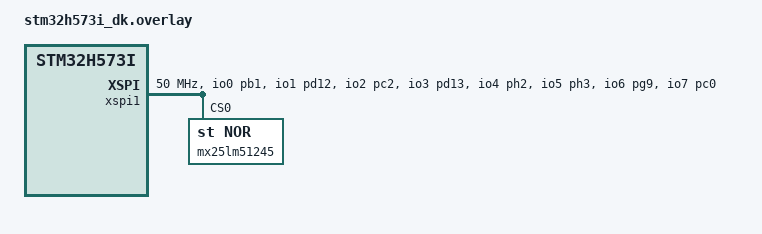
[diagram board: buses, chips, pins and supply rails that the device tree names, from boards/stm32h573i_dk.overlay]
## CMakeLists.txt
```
# SPDX-License-Identifier: Apache-2.0

cmake_minimum_required(VERSION 3.20.0)

find_package(Zephyr REQUIRED HINTS $ENV{ZEPHYR_BASE})
project(sample_with_mcuboot)

# Verify that this sample is built through sysbuild to ensure MCUboot is
# automatically included and that sample specific MCUboot configurations are
# used when building MCUboot.
test_sysbuild()

target_sources(app PRIVATE src/main.c)
```

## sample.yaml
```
sample:
  description: Sample with MCUboot built through sysbuild
  name: with mcuboot
tests:
  sample.sysbuild.with_mcuboot:
    sysbuild: true
    # Platform allowed is used as twister using sysbuild still lacks proper
    # filtering support, see discussion in #49552.
    platform_allow:
      - reel_board
      - nrf52840dk/nrf52840
      - esp32_devkitc/esp32/procpu
      - esp32s2_devkitc
      - esp32s3_devkitc/esp32s3/procpu
      - esp32c3_devkitc
      - esp32c6_devkitc/esp32c6/hpcore
      - nucleo_c071rb
      - nucleo_f091rc
      - nucleo_f207zg
      - nucleo_f429zi
      - nucleo_f746zg
      - nucleo_g071rb
      - nucleo_g474re
      - nucleo_h753zi
      - nucleo_h7s3l8/stm32h7s3xx/ext_flash_app
      - nucleo_l152re
      - nucleo_u385rg_q
      - nucleo_wb55rg
      - nucleo_wb09ke
      - nucleo_wba65ri
      - nucleo_wba55cg
      - nucleo_wl55jc
      - stm32f3_disco
      - stm32h7s78_dk/stm32h7s7xx/ext_flash_app
      - stm32h573i_dk
      - stm32h573i_dk/stm32h573xx/ext_flash_app
      - stm32h750b_dk/stm32h750xx/ext_flash_app
      - stm32l562e_dk
      - stm32u083c_dk
      - stm32wba65i_dk1
      - sam_e54_xpro
      - pic32cx_sg41_cult
    integration_platforms:
      - nrf52840dk/nrf52840
      - esp32_devkitc/esp32/procpu
      - esp32s2_devkitc
      - esp32s3_devkitc/esp32s3/procpu
      - esp32c3_devkitc
      - esp32c6_devkitc/esp32c6/hpcore
    tags: mcuboot
    harness: console
    harness_config:
      type: multi_line
      regex:
        - "Address of sample(.*)"
        - "Hello sysbuild with mcuboot!(.*)"
```

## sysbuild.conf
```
# Sysbuild configuration file.

# Enable MCUboot using overwrite only mode for this sample.
SB_CONFIG_BOOTLOADER_MCUBOOT=y
SB_CONFIG_MCUBOOT_MODE_OVERWRITE_ONLY=y
```

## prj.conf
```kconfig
# Empty file
CONFIG_STREAM_FLASH=y
CONFIG_IMG_MANAGER=y
CONFIG_FLASH=y
CONFIG_MCUBOOT_BOOTUTIL_LIB=y
CONFIG_MCUBOOT_IMG_MANAGER=y
CONFIG_FLASH_MAP=y
```

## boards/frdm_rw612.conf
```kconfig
# Copyright 2026 NXP
# SPDX-License-Identifier: Apache-2.0

CONFIG_NETWORKING=y
CONFIG_NET_L2_ETHERNET=y
CONFIG_ETH_DRIVER=y
```

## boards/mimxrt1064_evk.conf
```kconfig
# Copyright 2026 NXP
# SPDX-License-Identifier: Apache-2.0

# Enable Ethernet networking for MIMXRT1064-EVK MCUboot sysbuild test
CONFIG_NETWORKING=y
CONFIG_NET_L2_ETHERNET=y
CONFIG_ETH_DRIVER=y

# Logging
CONFIG_LOG=y
CONFIG_NET_LOG=y
CONFIG_PHY_LOG_LEVEL_DBG=y
CONFIG_NET_L2_ETHERNET_LOG_LEVEL_DBG=y
```

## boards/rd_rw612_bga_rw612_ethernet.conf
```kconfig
# Copyright 2026 NXP
# SPDX-License-Identifier: Apache-2.0

# Enable Ethernet networking for RD-RW612-BGA MCUboot sysbuild test
CONFIG_NETWORKING=y
CONFIG_NET_L2_ETHERNET=y
CONFIG_ETH_DRIVER=y

# Logging
CONFIG_LOG=y
CONFIG_NET_LOG=y
CONFIG_PHY_LOG_LEVEL_DBG=y
CONFIG_NET_L2_ETHERNET_LOG_LEVEL_DBG=y
```

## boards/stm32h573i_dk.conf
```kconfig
# Copyright (c) 2026 EXALT Technologies
# SPDX-License-Identifier: Apache-2.0

CONFIG_LOG=y
CONFIG_MSPI_LOG_LEVEL_INF=y
CONFIG_HEAP_MEM_POOL_SIZE=8192
CONFIG_MSPI_MEMMAP=y
CONFIG_FLASH=y
CONFIG_MSPI=y
CONFIG_XIP=y
```

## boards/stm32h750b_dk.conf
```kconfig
CONFIG_STM32_MEMMAP=y
```

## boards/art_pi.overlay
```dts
/*
 * Copyright (c) 2025 Dejiang He <hedejiang9@gmail.com>
 *
 * SPDX-License-Identifier: Apache-2.0
 */

/*
 * Define the device, controller and partition to be the external memory
 * for running the application in external NOR from MCUboot
 */
/ {
	chosen {
		zephyr,flash = &w25q64_qspi;
		zephyr,flash-controller = &w25q64_qspi;
		zephyr,code-partition = &slot0_partition;
	};
};
```

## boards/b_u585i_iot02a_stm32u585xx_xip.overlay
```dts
/*
 * Copyright (c) 2025 STMicroelectronics
 *
 * SPDX-License-Identifier: Apache-2.0
 */

/*
 * Define the device, controller and partition to be the external memory
 * for running the application in external NOR from MCUboot
 */

/ {
	chosen {
		zephyr,flash = &mx25lm51245;
		zephyr,flash-controller = &mx25lm51245;
	};
};
```

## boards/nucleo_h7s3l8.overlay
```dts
/*
 * Copyright (c) 2025 STMicroelectronics
 *
 * SPDX-License-Identifier: Apache-2.0
 */

/*
 * Define the device, controller and partition to be the external memory
 * for running the application in external NOR from MCUboot
 */
/ {
	chosen {
		zephyr,flash = &mx25uw25645;
		zephyr,flash-controller = &ext_flash_ctrl;
		zephyr,code-partition = &slot0_partition;
	};
};
```

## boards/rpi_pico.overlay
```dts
/*
 * Copyright (c) 2025 Beechwoods Software Inc.
 *
 * SPDX-License-Identifier: Apache-2.0
 */

/delete-node/ &code_partition;

#include <raspberrypi/partitions_2M_sysbuild.dtsi>

/ {
	chosen {
		zephyr,code-partition = &slot0_partition;
	};
};
```

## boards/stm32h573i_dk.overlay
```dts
/*
 * Copyright (c) 2026 EXALT Technologies
 *
 * SPDX-License-Identifier: Apache-2.0
 */

/* Replace the xspi1 by a "st,stm32-mspi-controller" compatible */
/delete-node/ &xspi1;

/ {
	soc {
		xspi1: mspi@47001400 {
			compatible = "st,stm32-xspi-controller";
			reg = <0x47001400 0x400>, <0x90000000 DT_SIZE_M(256)>;
			interrupts = <78 0>;
			clock-names = "xspix", "xspi-ker";
			clocks = <&rcc STM32_CLOCK(AHB4, 20U)>,
				 <&rcc STM32_SRC_PLL1_Q OCTOSPI1_SEL(1)>;
			#address-cells = <1>;
			#size-cells = <0>;
			clock-frequency = <DT_FREQ_M(50)>;
			op-mode = "MSPI_OP_MODE_CONTROLLER";
			status = "okay";
			st,csbound = <0>;
			pinctrl-0 = <&octospi1_io0_pb1 &octospi1_io1_pd12
				     &octospi1_io2_pc2 &octospi1_io3_pd13
				     &octospi1_io4_ph2 &octospi1_io5_ph3
				     &octospi1_io6_pg9 &octospi1_io7_pc0
				     &octospi1_clk_pf10 &octospi1_ncs_pg6
				     &octospi1_dqs_pb2>;
			pinctrl-names = "default";

			mx25lm51245: ospi-nor-flash@0 {
				compatible = "st,nor", "mxicy,mx25u", "jedec,nor";
				reg = <0>;
				size = <DT_SIZE_M(512)>;
				memmap-config = <1 0x00000000 DT_SIZE_M(256) 0>;
				status = "okay";
				read-command = <0xee11>;
				write-command = <0x12ed>;
				rx-dummy = <20>;
				st,mem-type = "macronix";
				mspi-max-frequency = <DT_FREQ_M(50)>;
				mspi-io-mode = "MSPI_IO_MODE_OCTAL";
				mspi-data-rate = "MSPI_DATA_RATE_DUAL";
				mspi-hardware-ce-num = <0>;
				command-length = "INSTR_2_BYTE";
			};
		};
	};
};
```

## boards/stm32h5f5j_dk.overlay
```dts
/*
 * Copyright (c) 2026 EXALT Technologies
 *
 * SPDX-License-Identifier: Apache-2.0
 */

/* Replace the xspi1 by a "st,stm32-mspi-controller" compatible */
/delete-node/ &xspi1;

/ {
	soc {
		xspi1: spi@47001400 {
			compatible = "st,stm32-xspi-controller";
			reg = <0x47001400 0x400>, <0x90000000 DT_SIZE_M(256)>;
			interrupts = <78 0>;
			clock-names = "xspix", "xspi-ker";
			clocks = <&rcc STM32_CLOCK(AHB4, 20)>,
				 <&rcc STM32_SRC_PLL1_Q OCTOSPI1_SEL(1)>;
			#address-cells = <1>;
			#size-cells = <0>;
			clock-frequency = <DT_FREQ_M(50)>;
			op-mode = "MSPI_OP_MODE_CONTROLLER";
			pinctrl-0 = <&octospim_p1_io0_pc9 &octospim_p1_io1_pf9
				     &octospim_p1_io2_pe2 &octospim_p1_io3_pa6
				     &octospim_p1_io4_ph2 &octospim_p1_io5_ph3
				     &octospim_p1_io6_pe9 &octospim_p1_io7_pe10
				     &octospim_p1_clk_pf10 &octospim_p1_ncs1_pg6
				     &octospim_p1_dqs_pc5>;
			pinctrl-names = "default";
			status = "okay";

			ext_flash_ctrl: xspi-flash-controller@0 {
				compatible = "st,nor", "mxicy,mx25u", "jedec,nor";
				reg = <0>;
				size = <DT_SIZE_M(512)>; /* 512 Mbits */
				read-command = <0xee11>;
				write-command = <0x12ed>;
				rx-dummy = <20>;
				memmap-config = <1 0x00000000 0 1>;
				mspi-max-frequency = <DT_FREQ_M(50)>;
				mspi-io-mode = "MSPI_IO_MODE_OCTAL";
				mspi-data-rate = "MSPI_DATA_RATE_DUAL";
				mspi-hardware-ce-num = <0>;
				command-length = "INSTR_2_BYTE";
				status = "okay";
				st,mem-type = "macronix";
				#address-cells = <1>;
				#size-cells = <1>;

				ext_flash: mx25lm51245: ext-flash@0 {
					compatible = "soc-nv-flash";
					reg = <0x0 DT_SIZE_M(64)>;
					write-block-size = <1>;
					erase-block-size = <DT_SIZE_K(4)>;
				};
			};
		};
	};
};
```

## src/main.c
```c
/*
 * Copyright (c) 2022 Nordic Semiconductor
 *
 * SPDX-License-Identifier: Apache-2.0
 */

#include <zephyr/kernel.h>
#include <zephyr/linker/linker-defs.h>

int main(void)
{
	printk("Address of sample %p\n", (void *)__rom_region_start);
	printk("Hello sysbuild with mcuboot! %s\n", CONFIG_BOARD);
	return 0;
}
```
